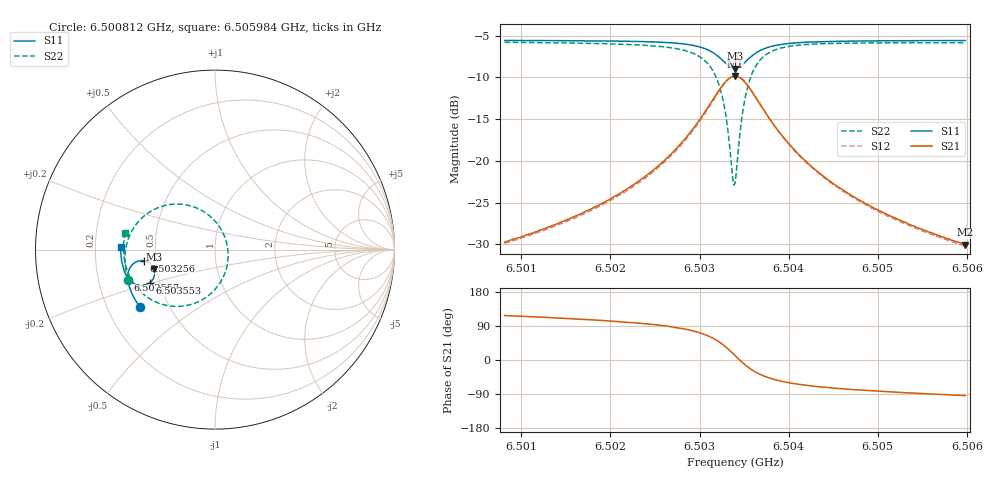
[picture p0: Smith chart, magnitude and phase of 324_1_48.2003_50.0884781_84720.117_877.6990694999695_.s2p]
#  HZ  S  RI  R  50.00
! Rohde & Schwarz Vector Network Analyzer
! Rohde-Schwarz,ZNB20-2Port,1311601062101988,3.16
! Created: UTC 3/20/2024, 11:50:36 AM
! freq[Hz]  re:S11  im:S11  re:S21  im:S21  re:S12  im:S12  re:S22  im:S22
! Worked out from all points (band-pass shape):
!   401 points, 6.500812 GHz to 6.505984 GHz, reference 50 ohm
!   highest |S21| = -9.84 dB at 6.503398 GHz (marker M1); lowest = -30.0 dB at 6.505984 GHz (marker M2)
!   |S21| within 3 dB of the highest: 6.503139 GHz to 6.503656 GHz (517.3 kHz wide, 0.00795 % of centre)
!   lowest |S11| = -8.9 dB at 6.503398 GHz (marker M3), VSWR 2.11, Z = 24.1 - j6.1 ohm
!   |S11| at or under -10 dB: nowhere
!   |S22| runs from -22.9 to -5.8 dB; largest |S21 - S12| = 0.011
!   S11 on the Smith chart (normalised r, x): 6.500812 GHz: 0.34, -0.30; 6.502557 GHz: 0.33, -0.15; 6.503256 GHz: 0.43, -0.06; 6.503553 GHz: 0.44, -0.20; 6.505984 GHz: 0.31, +0.01
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6.5008117e9  -0.4199 -0.3179  -0.0149 0.0288  -0.0133 0.029  -0.4857 -0.1666
6.5016781e9  -0.4581 -0.255  -0.0145 0.0463  -0.0121 0.0459  -0.501 -0.0768
6.5021694e9  -0.4759 -0.212  -0.0117 0.0659  -0.00865 0.065  -0.4992 -0.00853
6.5025444e9  -0.4851 -0.1716  -0.00307 0.094  0.000434 0.0919  -0.4813 0.0644
6.5025573e9  -0.4854 -0.1698  -0.00268 0.0953  0.000922 0.0931  -0.4801 0.0674
6.5028418e9  -0.4837 -0.1281  0.0205 0.1349  0.0241 0.1309  -0.4319 0.1497
6.5030357e9  -0.4666 -0.0909  0.0667 0.1756  0.0695 0.1697  -0.3427 0.2217
6.503165e9  -0.435 -0.0667  0.1352 0.198  0.1363 0.1917  -0.2182 0.2537
6.5032555e9  -0.3972 -0.0617  0.2106 0.1881  0.2109 0.1828  -0.0876 0.2252
6.5033072e9  -0.3722 -0.0703  0.2582 0.1606  0.259 0.1559  -0.0085 0.1686
6.5033719e9  -0.3461 -0.0961  0.3051 0.0978  0.3075 0.0929  0.0621 0.0483
6.5033978e9  -0.3399 -0.1103  0.315 0.0664  0.3181 0.0605  0.0725 -0.0103
6.5034107e9  -0.3379 -0.1179  0.3177 0.0499  0.3207 0.0436  0.073 -0.0404
6.5034883e9  -0.3439 -0.1618  0.3009 -0.0427  0.3027 -0.0525  0.016 -0.2023
6.5035529e9  -0.3646 -0.187  0.259 -0.0957  0.2579 -0.1066  -0.0781 -0.2832
6.5036564e9  -0.4035 -0.2018  0.1861 -0.1313  0.1808 -0.1404  -0.2245 -0.3162
6.5038245e9  -0.4486 -0.192  0.1063 -0.1286  0.0997 -0.1333  -0.3683 -0.2708
6.5040055e9  -0.4757 -0.1706  0.0628 -0.1091  0.0567 -0.1112  -0.4389 -0.2071
6.5042641e9  -0.4963 -0.1406  0.0334 -0.0856  0.0287 -0.086  -0.4816 -0.1362
6.504652e9  -0.5117 -0.1009  0.0146 -0.0629  0.0114 -0.0625  -0.5037 -0.0619
6.5051304e9  -0.5211 -0.0571  0.00488 -0.0468  0.00275 -0.0461  -0.5097 0.00379
6.5059838e9  -0.5258 0.0148  -0.00213 -0.0314  -0.00348 -0.0306  -0.5014 0.0924
